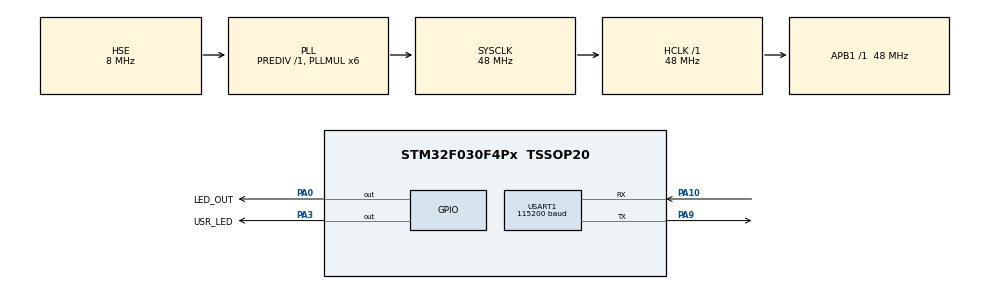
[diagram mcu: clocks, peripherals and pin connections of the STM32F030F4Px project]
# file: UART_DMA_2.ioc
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Dma.Request0=USART1_RX
Dma.USART1_RX.0.Direction=DMA_PERIPH_TO_MEMORY
Dma.USART1_RX.0.Instance=DMA1_Channel3
Dma.USART1_RX.0.MemDataAlignment=DMA_MDATAALIGN_BYTE
Dma.USART1_RX.0.MemInc=DMA_MINC_ENABLE
Dma.USART1_RX.0.Mode=DMA_NORMAL
Dma.USART1_RX.0.PeriphDataAlignment=DMA_PDATAALIGN_BYTE
Dma.USART1_RX.0.PeriphInc=DMA_PINC_DISABLE
Dma.USART1_RX.0.Priority=DMA_PRIORITY_LOW
Mcu.Family=STM32F0
Mcu.Name=STM32F030F4Px
Mcu.Package=TSSOP20
NVIC.DMA1_Channel2_3_IRQn=true\:0\:0\:false\:false\:true\:false\:true
NVIC.USART1_IRQn=true\:0\:0\:false\:false\:true\:true\:true
PA0.GPIO_Label=LED_OUT
PA0.Signal=GPIO_Output
PA10.Mode=Asynchronous
PA10.Signal=USART1_RX
PA13.Mode=Serial_Wire
PA13.Signal=SYS_SWDIO
PA14.Mode=Serial_Wire
PA14.Signal=SYS_SWCLK
PA3.GPIO_Label=USR_LED
PA3.Signal=GPIO_Output
PA9.Mode=Asynchronous
PA9.Signal=USART1_TX
PF0-OSC_IN.Mode=HSE-External-Oscillator
PF0-OSC_IN.Signal=RCC_OSC_IN
PF1-OSC_OUT.Mode=HSE-External-Oscillator
PF1-OSC_OUT.Signal=RCC_OSC_OUT
ProjectManager.HeapSize=0x200
ProjectManager.StackSize=0x400
ProjectManager.TargetToolchain=STM32CubeIDE
RCC.AHBFreq_Value=48000000
RCC.APB1Freq_Value=48000000
RCC.APB1TimFreq_Value=48000000
RCC.HCLKFreq_Value=48000000
RCC.PLLMUL=RCC_PLL_MUL6
RCC.PLLSourceVirtual=RCC_PLLSOURCE_HSE
RCC.SYSCLKFreq_VALUE=48000000
RCC.SYSCLKSource=RCC_SYSCLKSOURCE_PLLCLK
USART1.BaudRate=115200
USART1.VirtualMode-Asynchronous=VM_ASYNC
board=custom

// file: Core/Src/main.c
/* USER CODE BEGIN Header */
/**
 ******************************************************************************
 * @file           : main.c
 * @brief          : Main program body
 ******************************************************************************
 * @attention
 *
 * <h2><center>&copy; Copyright (c) 2022 STMicroelectronics.
 * All rights reserved.</center></h2>
 *
 * This software component is licensed by ST under BSD 3-Clause license,
 * the "License"; You may not use this file except in compliance with the
 * License. You may obtain a copy of the License at:
 *                        opensource.org/licenses/BSD-3-Clause
 *
 ******************************************************************************
 */
/* USER CODE END Header */

#include "main.h"
#include "dma.h"
#include "usart.h"
#include "gpio.h"

/* USER CODE BEGIN Includes */
#include <string.h>
#include <stdio.h>
/* USER CODE END Includes */

/* USER CODE BEGIN PTD */
#ifdef __GNUC__
/* With GCC, small printf (option LD Linker->Libraries->Small printf
     set to 'Yes') calls __io_putchar() */
#define PUTCHAR_PROTOTYPE int __io_putchar(int ch)
#else
#define PUTCHAR_PROTOTYPE int fputc(int ch, FILE *f)
#endif /* __GNUC__ */
/* USER CODE END PTD */

/* USER CODE BEGIN PM */
#define HIGH 1
#define LOW  0
/* USER CODE END PM */

/* USER CODE BEGIN PV */
//char rxData[30];
char rxData[2];
char rxBuffer[12];  //rx buffer length
char txBuffer[20];
char tempBuf[6];
char adcThreshBuf[5];
char rxIndex, tempIndex;
uint8_t rxComplete;
int adcThresh = 30;
int timerThresh = 10000;
/* USER CODE END PV */

void SystemClock_Config(void);
/* USER CODE BEGIN PFP */
int processUART(char data);
/* USER CODE END PFP */

int main(void)
{

	/* MCU Configuration--------------------------------------------------------*/

	/* Reset of all peripherals, Initializes the Flash interface and the Systick. */
	HAL_Init();

	/* Configure the system clock */
	SystemClock_Config();

	/* Initialize all configured peripherals */
	MX_GPIO_Init();
	MX_DMA_Init();
	MX_USART1_UART_Init();
	/* USER CODE BEGIN 2 */
	sprintf(txBuffer, "UART DMA Test\n\r");
	HAL_UART_Transmit(&huart1, (uint8_t*)txBuffer, strlen(txBuffer), 10);
	HAL_UART_Receive_DMA(&huart1, (uint8_t*)rxData, 1);
	/* USER CODE END 2 */

	/* Infinite loop */
	while (1)
	{

	}
}

void SystemClock_Config(void)
{
	RCC_OscInitTypeDef RCC_OscInitStruct = {0};
	RCC_ClkInitTypeDef RCC_ClkInitStruct = {0};
	RCC_PeriphCLKInitTypeDef PeriphClkInit = {0};

	/** Initializes the CPU, AHB and APB busses clocks
	 */
	RCC_OscInitStruct.OscillatorType = RCC_OSCILLATORTYPE_HSE;
	RCC_OscInitStruct.HSEState = RCC_HSE_ON;
	RCC_OscInitStruct.PLL.PLLState = RCC_PLL_ON;
	RCC_OscInitStruct.PLL.PLLSource = RCC_PLLSOURCE_HSE;
	RCC_OscInitStruct.PLL.PLLMUL = RCC_PLL_MUL6;
	RCC_OscInitStruct.PLL.PREDIV = RCC_PREDIV_DIV1;
	if (HAL_RCC_OscConfig(&RCC_OscInitStruct) != HAL_OK)
	{
		Error_Handler();
	}
	/** Initializes the CPU, AHB and APB busses clocks
	 */
	RCC_ClkInitStruct.ClockType = RCC_CLOCKTYPE_HCLK|RCC_CLOCKTYPE_SYSCLK
			|RCC_CLOCKTYPE_PCLK1;
	RCC_ClkInitStruct.SYSCLKSource = RCC_SYSCLKSOURCE_PLLCLK;
	RCC_ClkInitStruct.AHBCLKDivider = RCC_SYSCLK_DIV1;
	RCC_ClkInitStruct.APB1CLKDivider = RCC_HCLK_DIV1;

	if (HAL_RCC_ClockConfig(&RCC_ClkInitStruct, FLASH_LATENCY_1) != HAL_OK)
	{
		Error_Handler();
	}
	PeriphClkInit.PeriphClockSelection = RCC_PERIPHCLK_USART1;
	PeriphClkInit.Usart1ClockSelection = RCC_USART1CLKSOURCE_PCLK1;
	if (HAL_RCCEx_PeriphCLKConfig(&PeriphClkInit) != HAL_OK)
	{
		Error_Handler();
	}
}

/* USER CODE BEGIN 4 */
void HAL_UART_RxCpltCallback(UART_HandleTypeDef *huart)
{
	/* Prevent unused argument(s) compilation warning */
	UNUSED(huart);
	char data = rxData[0];
	rxComplete = processUART(data);
	if(rxComplete == HIGH)
	{
		if(strcmp(tempBuf, "ADC:") == 0)
		{
			int len = strlen(rxBuffer);
			for(int i=4;i<len;i++)
			{
				tempBuf[i-4] = rxBuffer[i];
			}
			tempBuf[len-4] = '\0';
			sscanf(tempBuf, "%d", &adcThresh);
			sprintf(txBuffer, "ADC:%d\n\r", adcThresh);
			HAL_UART_Transmit(&huart1, (uint8_t*)txBuffer, strlen(txBuffer), 10);
			HAL_GPIO_TogglePin(GPIOA, USR_LED_Pin|LED_OUT_Pin);
		}
		else if(strcmp(tempBuf, "ADC?") == 0)
		{
			sprintf(txBuffer, "ADC:%d\n\r", adcThresh);
			HAL_UART_Transmit(&huart1, (uint8_t*)txBuffer, strlen(txBuffer), 10);
			HAL_GPIO_TogglePin(GPIOA, USR_LED_Pin|LED_OUT_Pin);
		}
		else if(strcmp(tempBuf, "Tim:") == 0)
		{
			int len = strlen(rxBuffer);
			for(int i=4;i<len;i++)
			{
				tempBuf[i-4] = rxBuffer[i];
			}
			tempBuf[len-4] = '\0';
			sscanf(tempBuf, "%d", &timerThresh);
			sprintf(txBuffer, "Tim:%d\n\r", timerThresh);
			HAL_UART_Transmit(&huart1, (uint8_t*)txBuffer, strlen(txBuffer), 10);
			HAL_GPIO_TogglePin(GPIOA, USR_LED_Pin|LED_OUT_Pin);
		}
		else if(strcmp(tempBuf, "Tim?") == 0)
		{
			sprintf(txBuffer, "Tim:%d\n\r", timerThresh);
			HAL_UART_Transmit(&huart1, (uint8_t*)txBuffer, strlen(txBuffer), 10);
			HAL_GPIO_TogglePin(GPIOA, USR_LED_Pin|LED_OUT_Pin);
		}
		else
		{
			sprintf(txBuffer, "Invalid Data\n\r");
			HAL_UART_Transmit(&huart1, (uint8_t*)txBuffer, strlen(txBuffer), 10);
		}
	}
	HAL_UART_Receive_DMA(&huart1, (uint8_t*)rxData, 1);
}

int processUART(char data)
{
	if((data != 0x0D) && (data != 0x0A))
	{
		rxBuffer[rxIndex] = data;
		if(rxIndex <= 3)
		{
			tempBuf[tempIndex] = data;
			tempIndex++;
		}
		rxIndex++;
		return 0;
	}
	else
	{
		rxBuffer[rxIndex] = '\0';
		tempBuf[tempIndex] = '\0';
		rxIndex = 0;
		tempIndex = 0;
		return 1;
	}
}

PUTCHAR_PROTOTYPE
{
	/* Place your implementation of fputc here */
	/* e.g. write a character to the EVAL_COM1 and Loop until the end of transmission */
	HAL_UART_Transmit(&huart1, (uint8_t *)&ch, 1, 0xFFFF);

	return ch;
}
/* USER CODE END 4 */

void Error_Handler(void)
{
}

/************************ (C) COPYRIGHT STMicroelectronics *****END OF FILE****/
